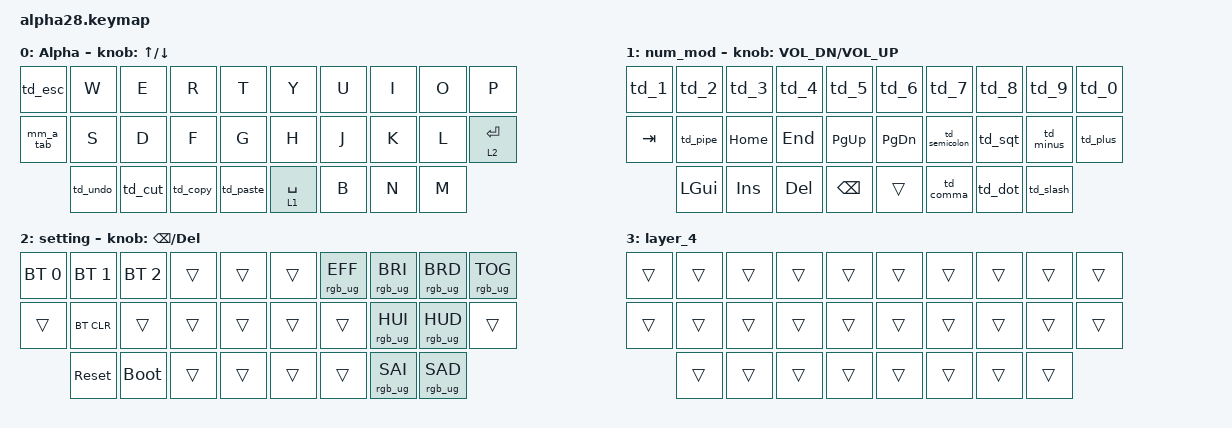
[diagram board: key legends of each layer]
#include <behaviors.dtsi>
#include <dt-bindings/zmk/bt.h>
#include <dt-bindings/zmk/keys.h>
#include <dt-bindings/zmk/rgb.h>

#define FN0 0
#define FN1 1
#define FN2 2
#define FN3 3

&sl { release-after-ms = <5000>; };

&led_strip { chain-length = <8>; };

&kscan0 {
    debounce-press-ms = <30>;
    debounce-release-ms = <30>;
};

/ {
    sensors {
        compatible = "zmk,keymap-sensors";
        sensors = <&left_encoder &right_encoder>;
        triggers-per-rotation = <10>;
    };

    behaviors {
        ht: ht {
            compatible = "zmk,behavior-hold-tap";
            label = "HT";
            bindings = <&kp>, <&kp>;

            #binding-cells = <2>;
            tapping-term-ms = <200>;
            flavor = "balanced";
            hold-trigger-key-positions = <24>;
        };

        td_paste: td_paste {
            compatible = "zmk,behavior-tap-dance";
            label = "TD_PASTE";
            #binding-cells = <0>;
            bindings = <&mt LEFT_ALT V>, <&paste>;

            tapping-term-ms = <300>;
        };

        td_cut: td_cut {
            compatible = "zmk,behavior-tap-dance";
            label = "TD_CUT";
            #binding-cells = <0>;
            bindings = <&mt LEFT_SHIFT X>, <&cut>;

            tapping-term-ms = <300>;
        };

        td_copy: td_copy {
            compatible = "zmk,behavior-tap-dance";
            label = "TD_COPY";
            #binding-cells = <0>;
            tapping-term-ms = <300>;
            bindings = <&kp C>, <&none>, <&copy>;
        };

        td_undo: td_undo {
            compatible = "zmk,behavior-tap-dance";
            label = "TD_UNDO";
            #binding-cells = <0>;
            bindings = <&mt LCTRL Z>, <&undo>;

            tapping-term-ms = <300>;
        };

        td_1: td_1 {
            compatible = "zmk,behavior-tap-dance";
            label = "TD_1";
            #binding-cells = <0>;
            bindings = <&kp NUMBER_1>, <&kp EXCL>;

            tapping-term-ms = <300>;
        };

        td_2: td_2 {
            compatible = "zmk,behavior-tap-dance";
            label = "TD_2";
            #binding-cells = <0>;
            bindings = <&kp NUMBER_2>, <&kp AT>;

            tapping-term-ms = <300>;
        };

        td_3: td_3 {
            compatible = "zmk,behavior-tap-dance";
            label = "TD_3";
            #binding-cells = <0>;
            bindings = <&kp NUMBER_3>, <&kp HASH>;

            tapping-term-ms = <300>;
        };

        td_4: td_4 {
            compatible = "zmk,behavior-tap-dance";
            label = "TD_4";
            #binding-cells = <0>;
            bindings = <&kp NUMBER_4>, <&kp DOLLAR>;

            tapping-term-ms = <300>;
        };

        td_5: td_5 {
            compatible = "zmk,behavior-tap-dance";
            label = "TD_5";
            #binding-cells = <0>;
            bindings = <&kp NUMBER_5>, <&kp PERCENT>;

            tapping-term-ms = <300>;
        };

        td_6: td_6 {
            compatible = "zmk,behavior-tap-dance";
            label = "TD_6";
            #binding-cells = <0>;
            bindings = <&kp NUMBER_6>, <&kp CARET>;

            tapping-term-ms = <300>;
        };

        td_7: td_7 {
            compatible = "zmk,behavior-tap-dance";
            label = "TD_7";
            #binding-cells = <0>;
            bindings = <&kp NUMBER_7>, <&kp AMPERSAND>;

            tapping-term-ms = <300>;
        };

        td_8: td_8 {
            compatible = "zmk,behavior-tap-dance";
            label = "TD_8";
            #binding-cells = <0>;
            bindings = <&kp NUMBER_8>, <&kp ASTERISK>;

            tapping-term-ms = <300>;
        };

        td_9: td_9 {
            compatible = "zmk,behavior-tap-dance";
            label = "TD_9";
            #binding-cells = <0>;
            bindings = <&kp NUMBER_9>, <&kp LEFT_PARENTHESIS>;

            tapping-term-ms = <300>;
        };

        td_0: td_0 {
            compatible = "zmk,behavior-tap-dance";
            label = "TD_0";
            #binding-cells = <0>;
            bindings = <&kp NUMBER_0>, <&kp RIGHT_PARENTHESIS>;

            tapping-term-ms = <300>;
        };

        td_comma: td_comma {
            compatible = "zmk,behavior-tap-dance";
            label = "TD_COMMA";
            #binding-cells = <0>;
            bindings = <&kp COMMA>, <&kp LESS_THAN>;

            tapping-term-ms = <300>;
        };

        td_dot: td_dot {
            compatible = "zmk,behavior-tap-dance";
            label = "TD_DOT";
            #binding-cells = <0>;
            bindings = <&kp PERIOD>, <&kp GREATER_THAN>;

            tapping-term-ms = <300>;
        };

        td_slash: td_slash {
            compatible = "zmk,behavior-tap-dance";
            label = "TD_SLASH";
            #binding-cells = <0>;
            bindings = <&kp SLASH>, <&kp QUESTION>;

            tapping-term-ms = <300>;
        };

        td_semicolon: td_semicolon {
            compatible = "zmk,behavior-tap-dance";
            label = "TD_SEMICOLON";
            #binding-cells = <0>;
            bindings = <&kp COLON>, <&kp SEMICOLON>;

            tapping-term-ms = <300>;
        };

        td_sqt: td_sqt {
            compatible = "zmk,behavior-tap-dance";
            label = "TD_SQT";
            #binding-cells = <0>;
            bindings = <&kp SQT>, <&kp DOUBLE_QUOTES>;

            tapping-term-ms = <300>;
        };

        td_minus: td_minus {
            compatible = "zmk,behavior-tap-dance";
            label = "TD_MINUS";
            #binding-cells = <0>;
            bindings = <&kp MINUS>, <&kp UNDERSCORE>;

            tapping-term-ms = <300>;
        };

        td_plus: td_plus {
            compatible = "zmk,behavior-tap-dance";
            label = "TD_PLUS";
            #binding-cells = <0>;
            bindings = <&kp EQUAL>, <&kp PLUS>;

            tapping-term-ms = <300>;
        };

        td_pipe: td_pipe {
            compatible = "zmk,behavior-tap-dance";
            label = "TD_PIPE";
            #binding-cells = <0>;
            bindings = <&kp NON_US_BACKSLASH>, <&kp PIPE>;

            tapping-term-ms = <300>;
        };

        td_esc: td_esc {
            compatible = "zmk,behavior-tap-dance";
            label = "TD_ESC";
            #binding-cells = <0>;
            bindings = <&kp Q>, <&kp ESC>;

            tapping-term-ms = <300>;
        };

        mm_a_tab: mm_a_tab {
            compatible = "zmk,behavior-mod-morph";
            label = "MM_A_TAB";
            bindings = <&kp A>, <&kp TAB>;

            #binding-cells = <0>;
            mods = <(MOD_LALT)>;
            keep-mods = <(MOD_LALT)>;
        };
    };

    macros {
        paste: paste {
            compatible = "zmk,behavior-macro";
            #binding-cells = <0>;
            bindings =
                <&macro_press>,
                <&kp LCTRL>,
                <&macro_tap>,
                <&kp V>,
                <&macro_release>,
                <&kp LCTRL>;

            label = "PASTE";
            tap-ms = <150>;
        };

        cut: cut {
            compatible = "zmk,behavior-macro";
            #binding-cells = <0>;
            bindings =
                <&macro_press>,
                <&kp LCTRL>,
                <&macro_tap>,
                <&kp X>,
                <&macro_release>,
                <&kp LCTRL>;

            label = "CUT";
            tap-ms = <150>;
        };

        copy: copy {
            compatible = "zmk,behavior-macro";
            #binding-cells = <0>;
            bindings =
                <&macro_press>,
                <&kp LCTRL>,
                <&macro_tap>,
                <&kp C>,
                <&macro_release>,
                <&kp LCTRL>;

            label = "COPY";
            tap-ms = <150>;
        };

        undo: undo {
            compatible = "zmk,behavior-macro";
            #binding-cells = <0>;
            bindings =
                <&macro_press>,
                <&kp LCTRL>,
                <&macro_tap>,
                <&kp Z>,
                <&macro_release>,
                <&kp LCTRL>;

            label = "UNDO";
            tap-ms = <150>;
        };
    };

    keymap {
        compatible = "zmk,keymap";

        default {
            sensor-bindings = <&inc_dec_kp UP DOWN>;
            bindings = <
&td_esc    &kp W     &kp E    &kp R     &kp T      &kp Y        &kp U  &kp I  &kp O  &kp P
&mm_a_tab  &kp S     &kp D    &kp F     &kp G      &kp H        &kp J  &kp K  &kp L  &lt 2 ENTER
           &td_undo  &td_cut  &td_copy  &td_paste  &lt 1 SPACE  &kp B  &kp N  &kp M
            >;

            label = "Alpha";
        };

        num_mod {
            sensor-bindings = <&inc_dec_kp C_VOL_DN C_VOL_UP>;
            bindings = <
&td_1    &td_2         &td_3       &td_4       &td_5          &td_6          &td_7          &td_8    &td_9      &td_0
&kp TAB  &td_pipe      &kp HOME    &kp END     &kp PAGE_UP    &kp PAGE_DOWN  &td_semicolon  &td_sqt  &td_minus  &td_plus
         &kp LEFT_GUI  &kp INSERT  &kp DELETE  &kp BACKSPACE  &trans         &td_comma      &td_dot  &td_slash
            >;

            label = "num_mod";
        };

        setting {
            sensor-bindings = <&inc_dec_kp BACKSPACE DEL>;
            bindings = <
&bt BT_SEL 0  &bt BT_SEL 1  &bt BT_SEL 2  &trans  &trans  &trans  &rgb_ug RGB_EFF  &rgb_ug RGB_BRI  &rgb_ug RGB_BRD  &rgb_ug RGB_TOG
&trans        &bt BT_CLR    &trans        &trans  &trans  &trans  &trans           &rgb_ug RGB_HUI  &rgb_ug RGB_HUD  &trans
              &sys_reset    &bootloader   &trans  &trans  &trans  &trans           &rgb_ug RGB_SAI  &rgb_ug RGB_SAD
            >;
        };

        layer_4 {
            bindings = <
&trans  &trans  &trans  &trans  &trans  &trans  &trans  &trans  &trans  &trans
&trans  &trans  &trans  &trans  &trans  &trans  &trans  &trans  &trans  &trans
        &trans  &trans  &trans  &trans  &trans  &trans  &trans  &trans
            >;
        };
    };
};
